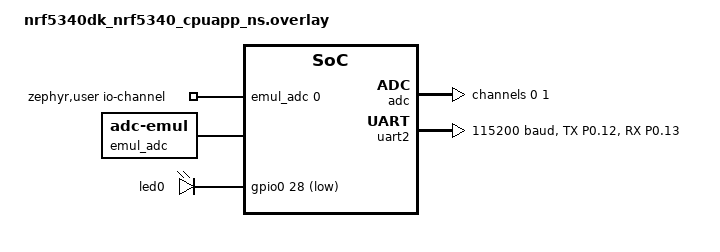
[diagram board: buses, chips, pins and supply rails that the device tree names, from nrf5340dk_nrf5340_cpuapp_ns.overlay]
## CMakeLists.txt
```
cmake_minimum_required(VERSION 3.20.0)
find_package(Zephyr REQUIRED HINTS $ENV{ZEPHYR_BASE})

set(CUSTOM_HEADERS)
set(CUSTOM_SOURCES)
add_subdirectory(src/custom)
add_subdirectory(src/customCPP)

project(SmartHome_EdgeDevice LANGUAGES C CXX)

target_sources(app PRIVATE src/main.c)
target_link_libraries(app PUBLIC custom_lib)
zephyr_library_include_directories(.)
```

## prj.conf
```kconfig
CONFIG_MAIN_STACK_SIZE=2048
CONFIG_THREAD_MONITOR=y
CONFIG_THREAD_STACK_INFO=y
###Device peripherals
CONFIG_ADC=y
CONFIG_ADC_ASYNC=n
CONFIG_ADC_EMUL=y
CONFIG_GPIO=y
###Logging support
CONFIG_LOG=y
CONFIG_GPIO_LOG_LEVEL_ERR=y

## Serial Interface
CONFIG_SERIAL=y
CONFIG_UART_ASYNC_API=y
CONFIG_UART_USE_RUNTIME_CONFIGURE=y

##Bluetooth support

CONFIG_BT=y
CONFIG_BT_DEVICE_NAME="Nordic_SensorNode"
CONFIG_BT_PERIPHERAL=y
CONFIG_BT_GATT_DYNAMIC_DB=n


CONFIG_CPP=y
CONFIG_STD_CPP17=y
CONFIG_GLIBCXX_LIBCPP=y
```

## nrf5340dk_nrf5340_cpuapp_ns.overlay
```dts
// To get started, press Ctrl+Space to bring up the completion menu and view the available nodes.

// You can also use the buttons in the sidebar to perform actions on nodes.
// Actions currently available include:

// * Enabling / disabling the node
// * Adding the bus to a bus
// * Removing the node
// * Connecting ADC channels

// For more help, browse the DeviceTree documentation at https://docs.zephyrproject.org/latest/guides/dts/index.html
// You can also visit the nRF DeviceTree extension documentation at https://docs.nordicsemi.com/bundle/nrf-connect-vscode/page/guides/ncs_configure_app.html#devicetree-support-in-the-extension



&adc {
    status = "okay";
    #address-cells = <1>;
    #size-cells = <0>;

    channel@0{
        reg = <0>;
        zephyr,gain = "ADC_GAIN_1_6";
        zephyr,reference = "ADC_REF_INTERNAL";
        zephyr,acquisition-time = <ADC_ACQ_TIME_DEFAULT>;
		zephyr,input-positive = <NRF_SAADC_AIN0>; /* P0.02 for nRF52xx, P0.04 for nRF53xx */
		zephyr,resolution = <12>;
    };
    channel@1{
        reg = <1>;
        zephyr,gain = "ADC_GAIN_1_6";
        zephyr,reference = "ADC_REF_INTERNAL";
        zephyr,acquisition-time = <ADC_ACQ_TIME_DEFAULT>;
		zephyr,input-positive = <NRF_SAADC_AIN1>; /* P0.02 for nRF52xx, P0.04 for nRF53xx */
		zephyr,resolution = <12>;

    };
};




/ {
    zephyr,user {
        io-channels = <&emul_adc 0>;
    };
    aliases {
        led-device-status = &led0;
        led-adv-status = &led1;
    };
    emul_adc: adc-emul {
        compatible = "zephyr,adc-emul";
        nchannels = <1>; /* Define 2 channels */
        #io-channel-cells = <1>;
        status = "okay";
        /* Define reference voltages (required for the emulator logic) */
        ref-internal-mv = <3300>; 
        #address-cells = <1>;
        #size-cells = <0>;
        
        channel@0{
        reg = <0>;
        zephyr,gain = "ADC_GAIN_1_6";
        zephyr,reference = "ADC_REF_INTERNAL";
        zephyr,acquisition-time = <ADC_ACQ_TIME_DEFAULT>;
		zephyr,input-positive = <NRF_SAADC_AIN0>; /* P0.02 for nRF52xx, P0.04 for nRF53xx */
		zephyr,resolution = <12>;

        };
    };
};

&led0 {
    gpios = <&gpio0 28 1>;
};
&uart1 {
    status = "disabled";
};


&qspi {
    status = "disabled";
};


&pwm0 {
    status = "disabled";
};


// Other unused peripherals by me

&spi4 {
    status = "disabled";
};
&i2c1 {
    status = "disabled";
};


&uart2 {
    status = "okay";
    current-speed = <115200>;
    parity = "none";    
    stop-bits = "1";
    data-bits = <8>;
    pinctrl-0 = <&uart2_default>;
    pinctrl-1 = <&uart2_sleep>;
    pinctrl-names = "default", "sleep";
};

&pinctrl {
    uart2_default: uart2_default {
        group1 {
            psels = <NRF_PSEL(UART_TX, 0, 12)>, <NRF_PSEL(UART_RX, 0, 13)>;
        };
    };

    uart2_sleep: uart2_sleep {
        group1 {
            psels = <NRF_PSEL(UART_TX, 0, 12)>;
        };
    };
};
```

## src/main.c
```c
#include <zephyr/bluetooth/bluetooth.h>
#include <zephyr/bluetooth/conn.h>
#include <zephyr/device.h>
#include <zephyr/devicetree.h>
#include <zephyr/drivers/adc.h>
#include <zephyr/kernel.h>
#include <zephyr/logging/log.h>

LOG_MODULE_REGISTER(Smarthome_EdgeDevice, LOG_LEVEL_INF);
#include "cadc.h"
#include "cgatt.h"
#include "cgpio.h"
#include "cuart.h"

// EXTERN
extern struct bt_conn_cb bt_connection_callbacks;
struct bt_conn *my_conn = NULL;

// PRIVATE FUNCTION PROTOTYPES
void adc_thread_handler(void);

// STATIC THREAD DEFINES
K_THREAD_DEFINE(adc_thread_id, 512, adc_thread_handler, NULL, NULL, NULL, 7,
                K_USER, 0);

// BLE ADVERTISEMENTS AND RESPONSES
const struct bt_data ad[] = {
    BT_DATA_BYTES(BT_DATA_FLAGS, (BT_LE_AD_GENERAL | BT_LE_AD_NO_BREDR)),
    BT_DATA(BT_DATA_NAME_COMPLETE, CONFIG_BT_DEVICE_NAME,
            (sizeof(CONFIG_BT_DEVICE_NAME) - 1)),
};
const struct bt_data sd[] = {
    BT_DATA_BYTES(BT_DATA_UUID16_SOME, BT_UUID_16_ENCODE(BT_UUID_ESS_VAL)),
};
const struct bt_le_adv_param adv_param[] =
    BT_LE_ADV_PARAM((BT_LE_ADV_OPT_CONNECTABLE), BT_GAP_ADV_SLOW_INT_MIN,
                    BT_GAP_ADV_SLOW_INT_MAX, NULL);
void advertising_start(void) {
  bt_le_adv_start(adv_param, ad, ARRAY_SIZE(ad), sd, ARRAY_SIZE(sd));
}
void advertising_stop(void) {
  bt_le_adv_stop();
}
int main(void) {
  _init_cgattc();
  // init_uart();

  LOG_INF("Device is starting...");

  int ret = 0;
  ret = init_gpio();
  if (ret)
    LOG_ERR("init_gpio() failed!");

  ret = bt_enable(NULL);

  ret = bt_conn_cb_register(&bt_connection_callbacks);
  // bt_gatt_service_register(&my_temperature_service);

  advertising_start();
  if (ret) {
    LOG_ERR("Something gone wrong by start advertisements");
  }

  return 0;
}

// FUNCTION DEFINITIONS
void adc_thread_handler(void) {
  k_msleep(2000);
  initADC();

  for (;;) {
    readADC();
    k_msleep(5000);
  }
}
```
